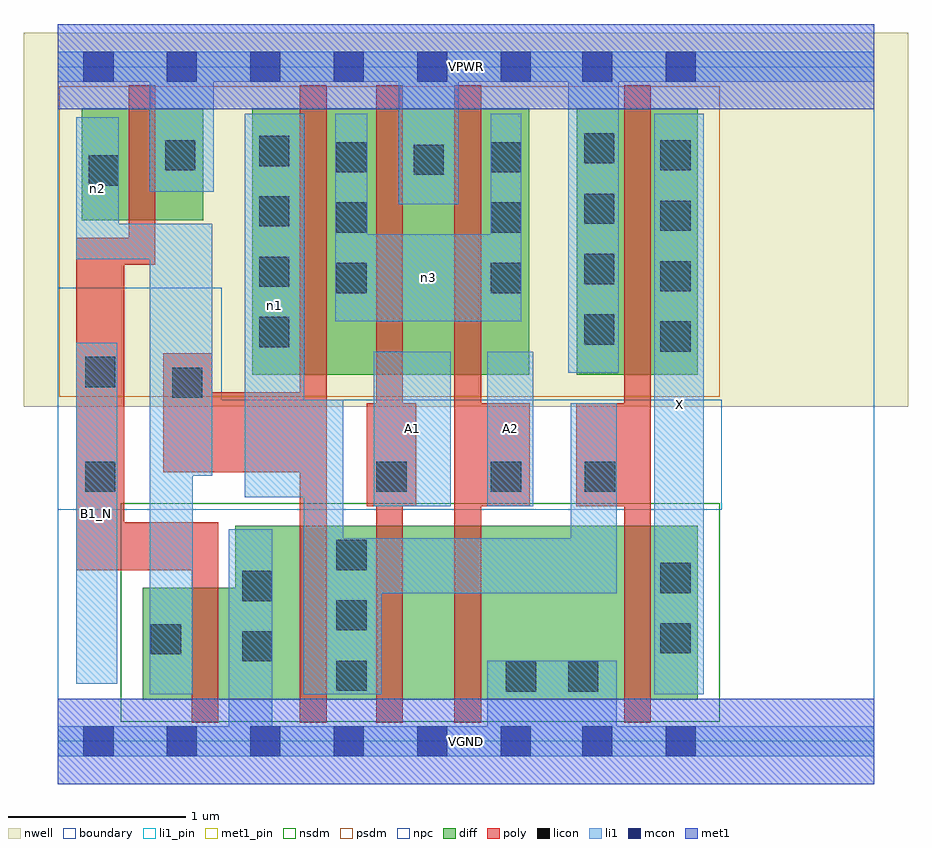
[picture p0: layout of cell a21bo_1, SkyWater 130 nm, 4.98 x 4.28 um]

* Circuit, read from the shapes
.subckt a21bo_1 A1 A2 B1_N VGND VPWR X n1 n2 n3
XM1 VGND B1_N n2 VSUBS sky130_fd_pr__nfet_01v8 w=0.63 l=0.15
XM2 n1 n2 VGND VSUBS sky130_fd_pr__nfet_01v8 w=0.98 l=0.15
XM3 n4 A1 n1 VSUBS sky130_fd_pr__nfet_01v8 w=0.98 l=0.15
XM4 VGND A2 n4 VSUBS sky130_fd_pr__nfet_01v8 w=0.98 l=0.15
XM5 X n1 VGND VSUBS sky130_fd_pr__nfet_01v8 w=0.98 l=0.15
XM6 VPWR B1_N n2 n5 sky130_fd_pr__pfet_01v8 w=0.63 l=0.15
XM7 n3 n2 n1 n5 sky130_fd_pr__pfet_01v8 w=1.5 l=0.15
XM8 VPWR A1 n3 n5 sky130_fd_pr__pfet_01v8 w=1.5 l=0.15
XM9 n3 A2 VPWR n5 sky130_fd_pr__pfet_01v8 w=1.5 l=0.15
XM10 X n1 VPWR n5 sky130_fd_pr__pfet_01v8 w=1.5 l=0.15
.ends

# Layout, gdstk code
import gdstk
lib = gdstk.Library(unit=1e-6, precision=1e-09)
def R(c, l, rs):  # rectangles x0, y0, x1, y1
    for r in rs: c.add(gdstk.rectangle(r[:2], r[2:], *l))
def A(c, l, x, y, w, h, nx, ny, dx, dy):  # array of equal rectangles
    R(c, l, [(x+i*dx, y+j*dy, x+i*dx+w, y+j*dy+h) for i in range(nx) for j in range(ny)])
nwell = (64, 20)
diff = (65, 20)
poly = (66, 20)
licon = (66, 44)
li1_pin = (67, 16)
li1 = (67, 20)
mcon = (67, 44)
met1_pin = (68, 16)
met1 = (68, 20)
nsdm = (93, 44)
psdm = (94, 20)
npc = (95, 20)
boundary = (235, 4)

a21bo_1 = lib.new_cell('a21bo_1')
R(a21bo_1, nwell, [(-0.19,1.885,4.79,3.99), (0,1.885,4.6,3.99)])
R(a21bo_1, diff, [(0.48,0.235,3.605,0.865), (1,0.235,3.605,1.215), (1.095,2.065,2.655,3.565), (2.925,2.065,3.605,3.565), (0.135,2.935,0.82,3.565)])
R(a21bo_1, poly, [(0.755,0.105,0.905,1.235), (1.365,0.105,1.515,3.695), (1.795,0.105,1.945,3.695), (2.235,0.105,2.385,3.695), (3.19,0.105,3.34,3.695), (0.105,0.965,0.375,2.835), (0.105,0.965,0.905,1.235), (1.74,1.325,2.02,1.905), (2.235,1.325,2.66,1.905), (2.92,1.325,3.34,1.905), (0.595,1.515,1.515,1.965), (0.595,1.515,0.87,2.185), (0.105,2.685,0.55,2.835), (0.4,2.685,0.55,3.695)])
A(a21bo_1, licon, 1.57, 0.285, 0.17, 0.17, 1, 3, 0, 0.34)
A(a21bo_1, licon, 3.395, 2.195, 0.17, 0.17, 1, 4, 0, 0.34)
A(a21bo_1, licon, 1.135, 2.22, 0.17, 0.17, 1, 4, 0, 0.34)
A(a21bo_1, licon, 2.965, 2.235, 0.17, 0.17, 1, 4, 0, 0.34)
A(a21bo_1, licon, 1.57, 2.525, 0.17, 0.17, 1, 3, 0, 0.34)
A(a21bo_1, licon, 2.44, 2.525, 0.17, 0.17, 1, 3, 0, 0.34)
R(a21bo_1, licon, [(2.525,0.28,2.695,0.45), (2.875,0.28,3.045,0.45), (1.04,0.45,1.21,0.62), (0.525,0.49,0.695,0.66), (3.395,0.495,3.565,0.665), (1.04,0.79,1.21,0.96), (3.395,0.835,3.565,1.005), (0.155,1.405,0.325,1.575), (1.795,1.405,1.965,1.575), (2.44,1.405,2.61,1.575), (2.97,1.405,3.14,1.575), (0.645,1.935,0.815,2.105), (0.155,1.995,0.325,2.165), (0.175,3.13,0.345,3.3), (2.005,3.19,2.175,3.36), (0.605,3.215,0.775,3.385)])
R(a21bo_1, li1_pin, [(3.36,0.265,3.64,3.535), (0.105,0.325,0.335,2.245), (1.78,1.325,2.215,2.195), (2.42,1.325,2.68,2.195)])
R(a21bo_1, li1, [(0,-0.085,4.6,0.085), (0.965,-0.085,1.21,1.195), (2.42,-0.085,3.15,0.455), (0.52,0.265,0.76,2.915), (1.385,0.265,1.61,1.925), (1.385,0.265,1.825,1.145), (3.36,0.265,3.64,3.535), (0.105,0.325,0.335,2.245), (1.385,0.835,3.15,1.145), (2.89,0.835,3.15,1.905), (1.78,1.325,2.215,2.195), (2.42,1.325,2.68,2.195), (1.055,1.375,1.39,3.535), (0.52,1.495,0.87,2.915), (2.875,2.075,3.16,3.885), (1.565,2.365,2.61,2.855), (1.565,2.365,1.745,3.535), (2.44,2.365,2.61,3.535), (0.105,2.715,0.345,3.515), (0.105,2.715,0.87,2.915), (1.92,3.025,2.26,3.885), (0.52,3.095,0.88,3.885), (0,3.715,4.6,3.885)])
A(a21bo_1, mcon, 0.145, -0.085, 0.17, 0.17, 6, 2, 0.47, 3.8)
R(a21bo_1, mcon, [(2.955,-0.085,3.125,0.085), (3.425,-0.085,3.595,0.085), (2.955,3.715,3.125,3.885), (3.425,3.715,3.595,3.885)])
R(a21bo_1, met1_pin, [(0,-0.24,4.6,0.24), (0,3.56,4.6,4.04)])
R(a21bo_1, met1, [(0,-0.24,4.6,0.24), (0,3.56,4.6,4.04)])
R(a21bo_1, nsdm, [(0.355,0.11,3.73,1.34)])
R(a21bo_1, psdm, [(0.01,1.94,3.73,3.69)])
R(a21bo_1, npc, [(0,1.305,3.74,1.925), (0,1.305,0.925,2.555)])
R(a21bo_1, boundary, [(0,0,4.6,3.8)])
a21bo_1.add(gdstk.Label('A1', (1.997,1.76), layer=67, texttype=5))
a21bo_1.add(gdstk.Label('A2', (2.55,1.76), layer=67, texttype=5))
a21bo_1.add(gdstk.Label('B1_N', (0.22,1.285), layer=67, texttype=5))
a21bo_1.add(gdstk.Label('X', (3.5,1.9), layer=67, texttype=5))
a21bo_1.add(gdstk.Label('n2', (0.225,3.115), layer=67, texttype=5))
a21bo_1.add(gdstk.Label('n1', (1.222,2.455), layer=67, texttype=5))
a21bo_1.add(gdstk.Label('n3', (2.087,2.61), layer=67, texttype=5))
a21bo_1.add(gdstk.Label('VPWR', (2.3,3.8), layer=68, texttype=5))
a21bo_1.add(gdstk.Label('VGND', (2.3,0), layer=68, texttype=5))
a21bo_1.add(gdstk.Label('A1', (1.997,1.76), layer=67, texttype=16))
a21bo_1.add(gdstk.Label('A2', (2.55,1.76), layer=67, texttype=16))
a21bo_1.add(gdstk.Label('B1_N', (0.22,1.285), layer=67, texttype=16))
a21bo_1.add(gdstk.Label('X', (3.5,1.9), layer=67, texttype=16))
a21bo_1.add(gdstk.Label('VPWR', (2.3,3.8), layer=68, texttype=16))
a21bo_1.add(gdstk.Label('VGND', (2.3,0), layer=68, texttype=16))

lib.write_gds('a21bo_1.gds')
